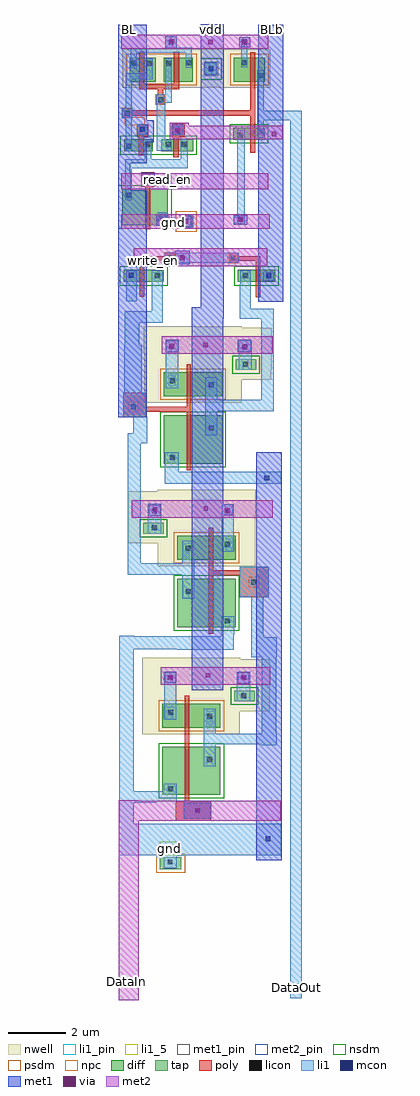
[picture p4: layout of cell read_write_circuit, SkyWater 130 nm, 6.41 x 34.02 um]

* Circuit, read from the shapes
.subckt read_write_circuit BL BLb DataIn DataOut gnd read_en vdd write_en
XM1 n1 BL n2 gnd sky130_fd_pr__nfet_01v8 w=0.42 l=0.18
XM2 n3 write_en BL gnd sky130_fd_pr__nfet_01v8 w=0.42 l=0.15
XM3 gnd read_en n1 gnd sky130_fd_pr__nfet_01v8 w=1.26 l=0.18
XM4 n1 BLb n4 gnd sky130_fd_pr__nfet_01v8 w=0.42 l=0.18
XM5 n5 DataIn gnd gnd sky130_fd_pr__nfet_01v8 w=1.68 l=0.15
XM6 n6 n3 gnd gnd sky130_fd_pr__nfet_01v8 w=1.68 l=0.15
XM7 gnd n5 n3 gnd sky130_fd_pr__nfet_01v8 w=1.68 l=0.15
XM8 DataOut n2 gnd gnd sky130_fd_pr__nfet_01v8 w=0.42 l=0.18
XM9 BLb write_en n6 gnd sky130_fd_pr__nfet_01v8 w=0.42 l=0.15
XM10 n2 n4 vdd vdd sky130_fd_pr__pfet_01v8 w=0.84 l=0.18
XM11 vdd n4 n4 vdd sky130_fd_pr__pfet_01v8 w=0.84 l=0.18
XM12 n5 DataIn vdd vdd sky130_fd_pr__pfet_01v8 w=0.84 l=0.15
XM13 n6 n3 vdd vdd sky130_fd_pr__pfet_01v8 w=0.84 l=0.15
XM14 vdd n5 n3 vdd sky130_fd_pr__pfet_01v8 w=0.84 l=0.15
XM15 DataOut n2 vdd vdd sky130_fd_pr__pfet_01v8 w=0.84 l=0.18
.ends

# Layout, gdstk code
import gdstk
lib = gdstk.Library(unit=1e-6, precision=1e-09)
def R(c, l, rs):  # rectangles x0, y0, x1, y1
    for r in rs: c.add(gdstk.rectangle(r[:2], r[2:], *l))
nwell = (64, 20)
diff = (65, 20)
tap = (65, 44)
poly = (66, 20)
licon = (66, 44)
li1_5 = (67, 5)
li1_pin = (67, 16)
li1 = (67, 20)
mcon = (67, 44)
met1_pin = (68, 16)
met1 = (68, 20)
via = (68, 44)
met2_pin = (69, 16)
met2 = (69, 20)
nsdm = (93, 44)
psdm = (94, 20)
npc = (95, 20)

write = lib.new_cell('write')
R(write, nwell, [(0.29,-17.04,3.69,-16.24), (0.29,-16.24,4.72,-15.9), (0.29,-15.9,4.73,-15.26), (0.28,-15.26,4.73,-14.43), (0.28,-14.43,3.7,-14.38), (0.83,-11.19,4.23,-10.39), (-0.2,-10.39,4.23,-10.05), (-0.21,-10.05,4.23,-9.41), (-0.21,-9.41,4.24,-8.58), (0.82,-8.58,4.24,-8.53), (0.35,-5.49,3.75,-4.69), (0.35,-4.69,4.78,-4.35), (0.35,-4.35,4.79,-3.71), (0.34,-3.71,4.79,-2.88), (0.34,-2.88,3.76,-2.83)])
R(write, diff, [(0.98,-19.16,3.01,-17.48), (0.98,-16.82,3.01,-15.98), (1.51,-13.31,3.54,-11.63), (1.51,-10.97,3.54,-10.13), (1.04,-7.61,3.07,-5.93), (1.04,-5.27,3.07,-4.43), (-0.37,-1.28,1.04,-0.86), (3.61,-1.28,4.92,-0.86)])
R(write, tap, [(0.9,-21.75,1.65,-21.34), (0.95,-21.34,1.64,-21.33), (3.49,-15.9,4.2,-15.53), (0.32,-10.05,1.03,-9.68), (3.55,-4.35,4.26,-3.98)])
R(write, poly, [(1.45,-20.06,2.67,-19.39), (1.77,-19.39,1.92,-15.7), (2.6,-13.54,2.75,-11.5), (3.69,-12.28,4.69,-11.5), (2.6,-11.5,4.69,-11.33), (2.6,-11.33,2.75,-9.85), (3.69,-11.33,4.69,-11.21), (1.83,-7.84,1.98,-5.8), (-0.38,-5.99,0.43,-5.81), (-0.38,-5.81,0.52,-5.8), (-0.38,-5.8,1.98,-5.63), (-0.38,-5.63,0.43,-5.14), (1.83,-5.63,1.98,-4.15), (4.24,-1.81,4.39,-0.54), (0.2,-1.8,0.35,-0.53), (1.07,-0.61,1.4,-0.53), (3.31,-0.61,3.64,-0.54), (3.31,-0.54,4.39,-0.39), (0.2,-0.53,1.4,-0.38), (3.31,-0.39,3.64,-0.27), (1.07,-0.38,1.4,-0.27)])
R(write, licon, [(1.165,-21.585,1.335,-21.415), (2.13,-19.79,2.3,-19.62), (1.185,-19.035,1.355,-18.865), (2.545,-18.005,2.715,-17.835), (2.545,-16.505,2.715,-16.335), (1.195,-16.365,1.365,-16.195), (3.735,-15.79,3.905,-15.62), (3.165,-13.185,3.335,-13.015), (1.805,-12.155,1.975,-11.985), (4.09,-11.83,4.26,-11.66), (1.805,-10.655,1.975,-10.485), (3.155,-10.515,3.325,-10.345), (0.615,-9.94,0.785,-9.77), (1.245,-7.485,1.415,-7.315), (2.605,-6.455,2.775,-6.285), (-0.105,-5.71,0.065,-5.54), (2.605,-4.955,2.775,-4.785), (1.255,-4.815,1.425,-4.645), (3.795,-4.24,3.965,-4.07), (4.605,-1.16,4.775,-0.99), (0.715,-1.14,0.885,-0.97), (3.795,-1.14,3.965,-0.97), (-0.185,-1.135,-0.015,-0.965), (3.36,-0.53,3.53,-0.36), (1.15,-0.52,1.32,-0.35)])
R(write, li1, [(1.03,-21.71,1.49,-21.33), (0.78,-21.33,1.49,-21.28), (0.77,-21.28,1.8,-21.27), (-0.54,-21.27,5.12,-20.17), (-0.51,-20.17,-0.02,-19.47), (1.73,-20,2.69,-19.43), (-0.51,-19.47,-0.01,-19.43), (-0.51,-19.43,0.78,-19.38), (-0.51,-19.38,1.49,-19.04), (-0.51,-19.04,-0.01,-14.08), (1.03,-19.04,1.49,-18.8), (1.05,-18.8,1.49,-18.78), (2.42,-18.17,2.84,-17.4), (4.45,-17.43,4.95,-17.4), (2.42,-17.4,4.97,-17.03), (2.42,-17.03,2.84,-16.16), (4.45,-17.03,4.95,-14.36), (1.05,-16.54,1.47,-15.16), (3.58,-15.9,4.04,-14.87), (1.04,-15.16,1.47,-14.88), (4.08,-14.36,4.97,-13.66), (1.51,-14.1,3.48,-14.08), (-0.51,-14.08,3.48,-13.63), (4.08,-13.66,4.51,-13.57), (-0.51,-13.63,-0.02,-13.61), (3.03,-13.63,3.48,-13.59), (3.03,-13.59,3.49,-12.95), (4.08,-13.57,4.5,-12.28), (3.03,-12.95,3.47,-12.93), (1.68,-12.32,2.1,-11.48), (3.69,-12.28,4.69,-11.21), (-0.22,-11.49,0.23,-11.48), (-0.22,-11.48,2.1,-11.09), (-0.22,-11.09,0.58,-11.08), (1.68,-11.09,2.1,-10.31), (-0.22,-11.08,0.23,-9.19), (3.05,-10.69,3.47,-9.31), (0.48,-10.05,0.94,-9.02), (3.05,-9.31,3.48,-9.03), (-0.23,-9.19,0.23,-6.91), (1.06,-8.32,5.12,-7.9), (1.06,-7.9,1.55,-7.22), (-0.23,-6.91,0.45,-6.56), (2.48,-6.62,2.9,-5.78), (-0.03,-6.56,0.45,-5.99), (-0.38,-5.99,0.45,-5.98), (-0.38,-5.98,0.43,-5.14), (2.48,-5.78,4.87,-5.39), (2.48,-5.39,2.9,-4.61), (4.43,-5.39,4.87,-2.57), (-0.35,-5.14,0.26,-3.48), (1.11,-4.99,1.53,-3.61), (3.64,-4.35,4.1,-3.32), (1.1,-3.61,1.53,-3.33), (-0.33,-3.48,0.18,-2.7), (-0.33,-2.7,0.99,-2.3), (3.69,-2.57,4.87,-2.21), (0.62,-2.3,0.99,-0.93), (3.69,-2.21,4.07,-2.15), (3.69,-2.15,4.06,-1.37), (-0.27,-1.95,0.09,-0.89), (3.7,-1.37,4.06,-0.88), (4.5,-1.24,4.86,-0.92), (0.62,-0.93,0.98,-0.88), (1.4,-0.62,3.32,-0.61), (1.07,-0.61,3.64,-0.27)])
R(write, mcon, [(4.58,-20.78,4.75,-20.61), (2.13,-19.79,2.3,-19.62), (1.18,-15.155,1.35,-14.985), (3.73,-15.155,3.9,-14.985), (0.625,-9.335,0.795,-9.165), (3.155,-9.335,3.325,-9.165), (4.54,-8.2,4.71,-8.03), (3.765,-3.625,3.935,-3.455), (1.225,-3.605,1.395,-3.435), (1.595,-0.525,1.765,-0.355)])
R(write, met1_pin, [(2.39,-2.61,2.4,-2.6)])
R(write, met1, [(4.26,-21.44,5.14,-7.22), (1.73,-20,2.69,-19.44), (2.26,-19.44,2.69,-19.43), (2.01,-15.51,3.11,-9.41), (3.61,-15.28,4.01,-14.88), (1.07,-15.26,1.47,-14.86), (0.51,-9.43,0.92,-9.05), (2.01,-9.41,3.45,-9.03), (2.01,-9.03,3.11,-2.17), (3.62,-3.74,4.08,-3.3), (1.1,-3.73,1.56,-3.29), (1.44,-0.67,1.94,-0.19)])
R(write, via, [(2.14,-19.78,2.29,-19.63), (3.745,-15.145,3.895,-14.995), (1.2,-15.135,1.35,-14.985), (2.505,-15.065,2.655,-14.915), (3.165,-9.325,3.315,-9.175), (0.665,-9.29,0.815,-9.14), (2.425,-9.255,2.575,-9.105), (3.78,-3.615,3.93,-3.465), (1.245,-3.585,1.395,-3.435), (2.415,-3.555,2.565,-3.405), (1.605,-0.515,1.755,-0.365)])
R(write, met2, [(-0.53,-20.07,5.11,-19.36), (0.92,-15.32,4.74,-14.71), (-0.09,-9.5,4.84,-8.89), (0.96,-3.78,4.83,-3.17), (-0.02,-0.73,4.64,-0.11)])
R(write, nsdm, [(0.855,-19.285,3.135,-17.355), (3.365,-16.025,4.325,-15.405), (1.385,-13.435,3.665,-11.505), (0.195,-10.175,1.155,-9.555), (0.915,-7.735,3.195,-5.805), (3.425,-4.475,4.385,-3.855), (-0.495,-1.405,1.165,-0.735), (3.485,-1.405,5.045,-0.735)])
R(write, psdm, [(0.775,-21.875,1.775,-21.215), (0.825,-21.215,1.765,-21.205), (0.855,-16.945,3.135,-15.855), (1.385,-11.095,3.665,-10.005), (0.915,-5.395,3.195,-4.305)])
R(write, npc, [(2.03,-19.89,2.4,-19.52), (3.99,-11.93,4.36,-11.56), (-0.205,-5.81,0.165,-5.44), (3.26,-0.63,3.63,-0.26), (1.05,-0.62,1.42,-0.25)])
write.add(gdstk.Label('gnd', (1.42,-21.59), layer=67, texttype=5))
write.add(gdstk.Label('vcc', (2.395,-2.605), layer=68, texttype=5))
write.add(gdstk.Label('DATA', (-0.13,-19.76), layer=69, texttype=5))
write.add(gdstk.Label('WRITE_EN', (0.16,-0.28), layer=69, texttype=5))
write.add(gdstk.Label('BL', (-0.15,-1.25), layer=67, texttype=5))
write.add(gdstk.Label('BLb', (4.68,-1.21), layer=67, texttype=5))

senseamp = lib.new_cell('senseamp')
R(senseamp, nwell, [(0.05,0.69,4.07,0.7), (0.05,0.7,5.2,2.04)])
R(senseamp, diff, [(0.04,-4.09,1.64,-2.83), (0.11,-1.52,1.11,-1.1), (1.41,-1.52,2.52,-1.1), (3.91,-1.12,5.01,-0.7), (0.31,0.91,1.21,1.75), (1.49,0.91,2.51,1.75), (3.93,0.91,5.02,1.75)])
R(senseamp, tap, [(2.04,-4.2,2.52,-3.73), (2.9,1.11,3.39,1.6)])
R(senseamp, poly, [(0.84,-4.24,1.02,-2.75), (0.71,-2.75,1.16,-2.24), (1.83,-1.72,2.01,-1.02), (0.62,-1.66,0.8,-1.02), (4.51,-1.57,4.69,-0.27), (0.57,-1.02,0.95,-0.6), (1.78,-1.02,2.23,-0.54), (0.04,-0.35,0.39,-0.27), (0.04,-0.27,4.69,-0.09), (0.04,-0.09,0.39,-0.02), (4.51,-0.09,4.69,1.93), (1.23,0.12,1.53,0.43), (1.29,0.43,1.47,0.65), (0.64,0.65,2.03,0.83), (0.64,0.83,0.82,1.96), (1.85,0.83,2.03,1.96)])
R(senseamp, licon, [(2.185,-4.045,2.355,-3.875), (1.33,-3.94,1.5,-3.77), (0.18,-3.14,0.35,-2.97), (0.845,-2.555,1.015,-2.385), (0.18,-1.43,0.35,-1.26), (0.86,-1.36,1.03,-1.19), (1.57,-1.36,1.74,-1.19), (2.12,-1.36,2.29,-1.19), (4.08,-1.04,4.25,-0.87), (4.78,-0.91,4.95,-0.74), (1.9,-0.87,2.07,-0.7), (0.655,-0.84,0.825,-0.67), (0.13,-0.27,0.3,-0.1), (1.3,0.2,1.47,0.37), (4.78,1.04,4.95,1.21), (3.055,1.27,3.225,1.44), (0.37,1.47,0.54,1.64), (0.92,1.47,1.09,1.64), (1.58,1.47,1.75,1.64), (2.28,1.49,2.45,1.66), (4.22,1.49,4.39,1.66)])
R(senseamp, li1, [(2.08,-4.17,2.48,-3.75), (1.29,-4.11,1.62,-3.64), (4.05,-4.05,4.32,-0.78), (0.15,-3.22,0.37,-2.1), (0.7,-2.7,1.18,-2.3), (0.15,-2.1,2.33,-1.8), (0.83,-1.8,1.06,-1.44), (2.09,-1.8,2.33,-1.1), (0.16,-1.51,0.37,-0.36), (1.25,-1.49,1.77,-1.11), (0.83,-1.44,1.07,-1.11), (1.25,-1.11,1.54,0.1), (4.76,-1.05,4.97,-0.44), (0.57,-0.94,0.91,-0.58), (1.76,-0.92,2.18,-0.65), (4.05,-0.78,4.28,-0.77), (4.76,-0.44,5.51,-0.1), (0.04,-0.36,0.39,-0.02), (4.76,-0.1,4.97,1.31), (0.16,-0.02,0.37,0.99), (1.21,0.1,1.54,0.18), (1.21,0.18,1.77,0.48), (1.54,0.48,1.77,1.72), (0.16,0.99,1.11,1.2), (2.93,1.15,3.34,1.57), (0.9,1.2,1.11,1.72), (0.35,1.37,0.56,1.91), (2.26,1.4,2.47,1.91), (4.2,1.41,4.41,2.38), (0.35,1.91,2.47,2.08), (1.54,2.08,2.47,2.09), (1.54,2.09,1.95,2.49)])
R(senseamp, mcon, [(2.185,-4.045,2.355,-3.875), (1.37,-4.005,1.54,-3.835), (4.095,-3.975,4.265,-3.805), (0.845,-2.555,1.015,-2.385), (1.895,-0.905,2.065,-0.735), (0.655,-0.84,0.825,-0.67), (3.055,1.27,3.225,1.44), (4.215,2.19,4.385,2.36), (1.66,2.2,1.83,2.37)])
R(senseamp, met1, [(2.79,-4.54,3.46,2.9), (2.1,-4.14,2.45,-3.77), (1.24,-4.12,1.67,-4.06), (3.93,-4.08,4.4,-3.75), (1.24,-4.06,1.68,-3.79), (1.24,-3.79,1.67,-3.76), (0.7,-2.67,1.18,-2.27), (-0.08,-1.2,1.14,-0.44), (1.8,-0.95,2.18,-0.58), (1.54,2.07,1.95,2.49), (4.12,2.11,4.51,2.45)])
R(senseamp, via, [(2.205,-4.045,2.355,-3.895), (1.39,-3.995,1.54,-3.845), (4.115,-3.97,4.265,-3.82), (0.855,-2.545,1.005,-2.395), (1.92,-0.865,2.07,-0.715), (3.045,2.22,3.195,2.37), (4.24,2.23,4.39,2.38), (1.705,2.245,1.855,2.395)])
R(senseamp, met2, [(0.02,-4.21,5.19,-3.72), (0.02,-2.84,5.14,-2.29), (1.7,-1.09,5.64,-0.63), (1.7,-0.63,2.36,-0.53), (0.02,2.05,5.13,2.54)])
R(senseamp, nsdm, [(-0.085,-4.215,1.765,-2.705), (-0.015,-1.645,2.645,-0.975), (3.785,-1.245,5.135,-0.575), (2.775,0.985,3.515,1.725)])
R(senseamp, psdm, [(1.915,-4.325,2.645,-3.605), (0.185,0.785,2.635,1.875), (3.805,0.785,5.145,1.875)])
R(senseamp, npc, [(0.745,-2.655,1.115,-2.285), (1.8,-0.97,2.17,-0.6), (0.555,-0.94,0.925,-0.605), (0.13,-0.605,0.925,-0.57), (0.13,-0.57,0.825,-0.37), (0.03,-0.37,0.825,-0.335), (0.03,-0.335,0.4,0), (1.2,0.1,1.57,0.47)])
senseamp.add(gdstk.Label('BLb', (5.4,-0.89), layer=69, texttype=5))
senseamp.add(gdstk.Label('BLout', (5.25,-0.27), layer=67, texttype=5))
senseamp.add(gdstk.Label('vdd', (3.08,2.44), layer=69, texttype=5))
senseamp.add(gdstk.Label('readen', (0.4,-2.59), layer=69, texttype=5))
senseamp.add(gdstk.Label('gnd', (2.27,-4.14), layer=69, texttype=5))
senseamp.add(gdstk.Label('BL', (0.04,-0.82), layer=68, texttype=5))

read_write_circuit = lib.new_cell('read_write_circuit')
R(read_write_circuit, li1_5, [(1.47,-21.38,2.12,-20.91)])
R(read_write_circuit, li1_pin, [(6.09,-26.13,6.35,-25.85)])
R(read_write_circuit, li1, [(6.02,-26.37,6.42,4.23), (1.47,-21.38,2.12,-20.91), (5.17,-1.28,5.35,-1.1), (0.38,-1.26,0.56,-1.08), (5.08,4.23,6.42,4.57)])
R(read_write_circuit, mcon, [(5.175,-1.275,5.345,-1.105), (0.385,-1.255,0.555,-1.085)])
R(read_write_circuit, met1_pin, [(0.27,7.25,0.53,7.53), (3.13,7.25,3.39,7.53), (5.25,7.26,5.51,7.54)])
R(read_write_circuit, met1, [(0.01,-6.11,1.01,1.8), (2.9,-2.67,3.69,7.59), (4.9,-2.1,5.76,7.57), (0.01,1.8,0.45,2.4), (0.01,2.4,0.43,2.74), (0.01,2.74,1.01,7.57)])
R(read_write_circuit, via, [(5.375,3.685,5.525,3.835)])
R(read_write_circuit, met2_pin, [(0.17,-25.93,0.43,-25.65), (1.13,-0.78,1.39,-0.5), (1.85,0.51,2.03,0.83), (1.6,2.03,1.86,2.31)])
R(read_write_circuit, met2, [(0.03,-26.43,0.73,-19.47), (0.97,-0.84,1.49,-0.45), (1.82,0.47,2.85,0.92), (1.48,1.95,2,2.34), (5.32,3.62,5.58,3.9)])
read_write_circuit.add(gdstk.Reference(write, (0.57,-0.12)))
read_write_circuit.add(gdstk.Reference(senseamp, (0.11,4.67)))
read_write_circuit.add(gdstk.Label('gnd', (1.795,-21.145), layer=67, texttype=5))
read_write_circuit.add(gdstk.Label('BL', (0.4,7.39), layer=68, texttype=5))
read_write_circuit.add(gdstk.Label('BLb', (5.38,7.4), layer=68, texttype=5))
read_write_circuit.add(gdstk.Label('vdd', (3.26,7.39), layer=68, texttype=5))
read_write_circuit.add(gdstk.Label('DataIn', (0.3,-25.79), layer=69, texttype=5))
read_write_circuit.add(gdstk.Label('DataOut', (6.22,-25.99), layer=67, texttype=5))
read_write_circuit.add(gdstk.Label('write_en', (1.26,-0.64), layer=69, texttype=5))
read_write_circuit.add(gdstk.Label('read_en', (1.73,2.17), layer=69, texttype=5))
read_write_circuit.add(gdstk.Label('gnd', (1.94,0.67), layer=69, texttype=5))

lib.write_gds('read_write_circuit.gds')
